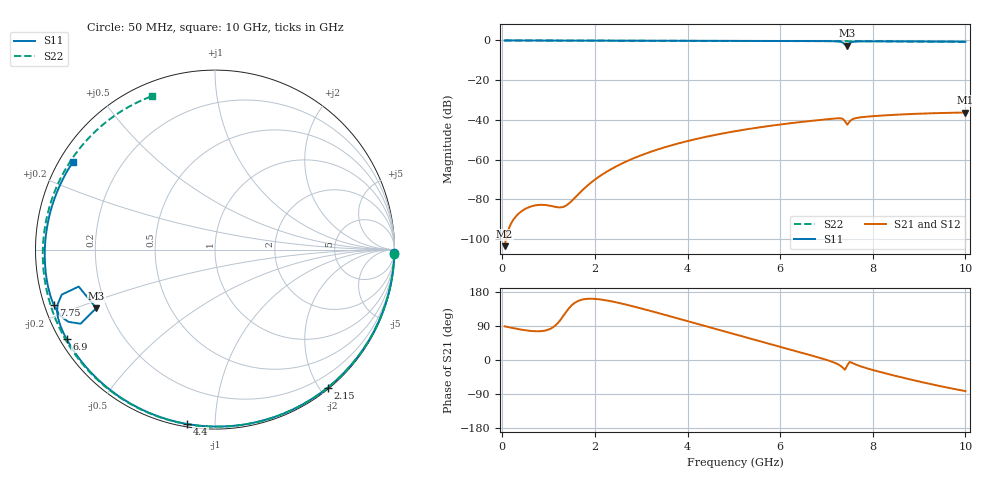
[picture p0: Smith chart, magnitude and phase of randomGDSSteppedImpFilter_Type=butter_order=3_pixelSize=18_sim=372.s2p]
! freq	dB(S11)	phase(S11)	dB(S12)	phase(S12)
!  dB(S21)	phase(S21)	dB(S22)	phase(S22)
!S-par simulation data
#  GHz  S  DB  R 50
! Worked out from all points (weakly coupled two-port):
!   200 points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, 50 MHz to 10 GHz, reference 50 ohm
!   highest |S21| = -36.26 dB at 10 GHz (marker M1); lowest = -103.5 dB at 50 MHz (marker M2)
!   lowest |S11| = -2.6 dB at 7.45 GHz (marker M3), VSWR 6.62, Z = 7.95 - j11.4 ohm
!   |S11| at or under -10 dB: nowhere
!   |S22| runs from -0.7 to 0.0 dB; largest |S21 - S12| = 0
!   S11 on the Smith chart (normalised r, x): 50 MHz: 0, -94; 2.15 GHz: 0.02, -2.11; 4.4 GHz: 0.01, -0.85; 6.9 GHz: 0.02, -0.28; 7.75 GHz: 0.03, -0.17; 10 GHz: 0.04, +0.28
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0.05  -0.00 -1.2  -103.49 89.0  -103.49 89.0  -0.00 -1.4
0.75  -0.02 -18.1  -82.83 75.8  -82.83 75.8  -0.03 -20.9
1.5  -0.05 -35.8  -80.69 144.4  -80.69 144.4  -0.05 -41.3
1.75  -0.05 -41.6  -74.87 160.1  -74.87 160.1  -0.06 -47.9
2.15  -0.06 -50.8  -67.57 159.2  -67.57 159.2  -0.07 -58.4
2.7  -0.08 -63.1  -60.65 145.4  -60.65 145.4  -0.09 -72.3
3.4  -0.10 -78.2  -54.51 122.9  -54.51 122.9  -0.12 -89.4
4.4  -0.14 -99.0  -48.47 88.9  -48.47 88.9  -0.16 -112.6
5.05  -0.17 -112.0  -45.57 66.7  -45.57 66.7  -0.19 -127.1
5.9  -0.22 -128.7  -42.59 38.1  -42.59 38.1  -0.24 -145.7
6.7  -0.28 -144.7  -40.38 11.1  -40.38 11.1  -0.30 -163.2
6.9  -0.31 -148.9  -39.90 4.1  -39.90 4.1  -0.31 -167.7
7.3  -0.64 -160.8  -39.16 -15.0  -39.16 -15.0  -0.35 -176.7
7.35  -1.01 -163.6  -39.39 -20.1  -39.39 -20.1  -0.35 -177.8
7.4  -2.08 -164.8  -40.58 -25.7  -40.58 -25.7  -0.36 -178.9
7.45  -2.64 -153.8  -42.38 -14.1  -42.38 -14.1  -0.36 179.9
7.5  -1.36 -151.1  -40.78 -5.2  -40.78 -5.2  -0.37 178.8
7.6  -0.61 -156.1  -39.28 -10.2  -39.28 -10.2  -0.38 176.5
7.75  -0.45 -161.1  -38.63 -17.2  -38.63 -17.2  -0.39 173.0
8.35  -0.44 -174.9  -37.55 -37.6  -37.55 -37.6  -0.45 158.5
9.2  -0.53 166.7  -36.68 -62.2  -36.68 -62.2  -0.56 136.2
10  -0.63 148.3  -36.26 -82.1  -36.26 -82.1  -0.68 112.4
